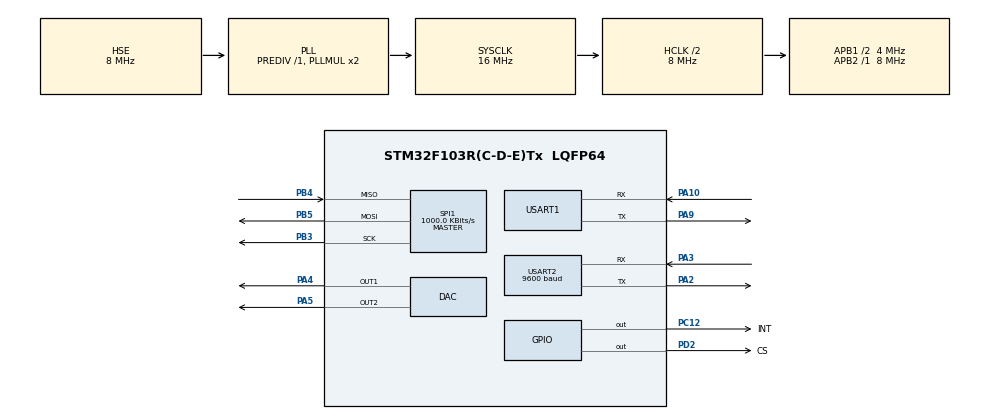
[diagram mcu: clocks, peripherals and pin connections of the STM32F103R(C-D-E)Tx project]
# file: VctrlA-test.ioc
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Dma.Request0=SPI1_RX
Dma.Request1=SPI1_TX
Dma.SPI1_RX.0.Direction=DMA_PERIPH_TO_MEMORY
Dma.SPI1_RX.0.Instance=DMA1_Channel2
Dma.SPI1_RX.0.MemDataAlignment=DMA_MDATAALIGN_BYTE
Dma.SPI1_RX.0.MemInc=DMA_MINC_ENABLE
Dma.SPI1_RX.0.Mode=DMA_NORMAL
Dma.SPI1_RX.0.PeriphDataAlignment=DMA_PDATAALIGN_BYTE
Dma.SPI1_RX.0.PeriphInc=DMA_PINC_DISABLE
Dma.SPI1_RX.0.Priority=DMA_PRIORITY_LOW
Dma.SPI1_TX.1.Direction=DMA_MEMORY_TO_PERIPH
Dma.SPI1_TX.1.Instance=DMA1_Channel3
Dma.SPI1_TX.1.MemDataAlignment=DMA_MDATAALIGN_BYTE
Dma.SPI1_TX.1.MemInc=DMA_MINC_ENABLE
Dma.SPI1_TX.1.Mode=DMA_NORMAL
Dma.SPI1_TX.1.PeriphDataAlignment=DMA_PDATAALIGN_BYTE
Dma.SPI1_TX.1.PeriphInc=DMA_PINC_DISABLE
Dma.SPI1_TX.1.Priority=DMA_PRIORITY_LOW
Mcu.Family=STM32F1
Mcu.Name=STM32F103R(C-D-E)Tx
Mcu.Package=LQFP64
NVIC.DMA1_Channel2_IRQn=true\:0\:0\:false\:false\:true\:false\:true\:true
NVIC.DMA1_Channel3_IRQn=true\:0\:0\:false\:false\:true\:false\:true\:true
NVIC.PriorityGroup=NVIC_PRIORITYGROUP_4
NVIC.SPI1_IRQn=true\:0\:0\:false\:false\:true\:true\:true\:true
NVIC.USART2_IRQn=true\:0\:0\:false\:false\:true\:true\:true\:true
PA10.Mode=Asynchronous
PA10.Signal=USART1_RX
PA2.Mode=Asynchronous
PA2.Signal=USART2_TX
PA3.Mode=Asynchronous
PA3.Signal=USART2_RX
PA4.Signal=COMP_DAC1_group
PA5.Signal=COMP_DAC2_group
PA9.Mode=Asynchronous
PA9.Signal=USART1_TX
PB3.Mode=Full_Duplex_Master
PB3.Signal=SPI1_SCK
PB4.Mode=Full_Duplex_Master
PB4.Signal=SPI1_MISO
PB5.Mode=Full_Duplex_Master
PB5.Signal=SPI1_MOSI
PC12.GPIO_Label=INT
PC12.Signal=GPIO_Output
PD0-OSC_IN.Mode=HSE-External-Oscillator
PD0-OSC_IN.Signal=RCC_OSC_IN
PD1-OSC_OUT.Mode=HSE-External-Oscillator
PD1-OSC_OUT.Signal=RCC_OSC_OUT
PD2.GPIO_Label=CS
PD2.Signal=GPIO_Output
ProjectManager.HeapSize=0x200
ProjectManager.StackSize=0x400
ProjectManager.TargetToolchain=MDK-ARM V5.32
RCC.AHBCLKDivider=RCC_SYSCLK_DIV2
RCC.AHBFreq_Value=8000000
RCC.APB1CLKDivider=RCC_HCLK_DIV2
RCC.APB1Freq_Value=4000000
RCC.APB1TimFreq_Value=8000000
RCC.APB2Freq_Value=8000000
RCC.APB2TimFreq_Value=8000000
RCC.HCLKFreq_Value=8000000
RCC.PLLSourceVirtual=RCC_PLLSOURCE_HSE
RCC.SYSCLKFreq_VALUE=16000000
RCC.SYSCLKSource=RCC_SYSCLKSOURCE_PLLCLK
RCC.USBFreq_Value=16000000
SH.COMP_DAC1_group.0=DAC_OUT1,DAC_OUT1
SH.COMP_DAC2_group.0=DAC_OUT2,DAC_OUT2
SPI1.BaudRatePrescaler=SPI_BAUDRATEPRESCALER_8
SPI1.CalculateBaudRate=1000.0 KBits/s
SPI1.Direction=SPI_DIRECTION_2LINES
SPI1.Mode=SPI_MODE_MASTER
SPI1.VirtualType=VM_MASTER
USART1.VirtualMode=VM_ASYNC
USART2.BaudRate=9600
USART2.VirtualMode=VM_ASYNC
VP_SYS_VS_ND.Mode=No_Debug
board=custom

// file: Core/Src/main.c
/* USER CODE BEGIN Header */
/**
  ******************************************************************************
  * @file           : main.c
  * @brief          : Main program body
  ******************************************************************************
  * @attention
  *
  * Copyright (c) 2025 STMicroelectronics.
  * All rights reserved.
  *
  * This software is licensed under terms that can be found in the LICENSE file
  * in the root directory of this software component.
  * If no LICENSE file comes with this software, it is provided AS-IS.
  *
  ******************************************************************************
  */
/* USER CODE END Header */
#include "main.h"
#include "dac.h"
#include "dma.h"
#include "spi.h"
#include "usart.h"
#include "gpio.h"

/* USER CODE BEGIN Includes */
#include "stdio.h"
#include "FILE_SYS.H"
#include "SPI_Init.h"
#include "ch376.h"

/* USER CODE END Includes */

/* USER CODE BEGIN PD */
int fputc(int ch, FILE* file)
{
    HAL_UART_Transmit(&huart1,(uint8_t*)&ch,1,0xffff);
    return ch;
}
/* USER CODE END PD */

void SystemClock_Config(void);

int main(void)
{

  /* MCU Configuration--------------------------------------------------------*/

  /* Reset of all peripherals, Initializes the Flash interface and the Systick. */
  HAL_Init();

  /* Configure the system clock */
  SystemClock_Config();

  /* Initialize all configured peripherals */
  MX_GPIO_Init();
  MX_DMA_Init();
  MX_DAC_Init();
  MX_USART1_UART_Init();
  MX_SPI1_Init();
  MX_USART2_UART_Init();
  /* USER CODE BEGIN 2 */
//	HAL_DAC_Start(&hdac, DAC_CHANNEL_1);
//	HAL_DAC_Start(&hdac, DAC_CHANNEL_2);
//	HAL_DAC_SetValue(&hdac,DAC_CHANNEL_1,DAC_ALIGN_12B_R,4096.00*1.283/3.30);
//	HAL_DAC_SetValue(&hdac,DAC_CHANNEL_2,DAC_ALIGN_12B_R,4096.00*3.00/3.30);

	printf( "Start\r\n" );

//	uint8_t rxdata,buf[10];
	if (CH376_TestConnection()) {
     printf("CH376 is connected and working!\r\n");
   }
	else
	{
     printf("CH376 connection failed!\r\n");
  }
	//选择u盘模式
	printf("正在选择u盘模式...");
	xWriteCH376Cmd(CMD_SET_USB_MODE);
	xWriteCH376Data(0x06);
		if(xReadCH376Data()==0x51)if(xReadCH376Data()==0x15) printf("设置成功\r\n");
	//判断是否连接
	printf("正在检查u盘连接...");
	CH376DiskConnect();
	if(xReadCH376Data()==USB_INT_SUCCESS) printf("连接成功\r\n");
	//初始化磁盘
	printf("正在初始化磁盘...");
	if(CH376DiskMount()==USB_INT_SUCCESS) printf("已就绪\r\n");
	//打开目录
	printf("正在打开目录...");
	if(CH376FileCreate((PUINT8)"/DATA.CSV")==USB_INT_SUCCESS) printf("打开成功\r\n");
	else printf("开启失败\r\n");
	//获取当前文件大小
	uint32_t size=CH376GetFileSize();
	printf("size=%d\r\n",size);
	//读取数据
//	xWriteCH376Cmd(CMD2H_BYTE_READ);
//	printf("res=%c",xReadCH376Data());
//	if(xReadCH376Data()==0x1D) printf("正在读取数据...");
//	xWriteCH376Cmd(CMD01_RD_USB_DATA0);
//	printf("读取数据：%x",xReadCH376Data());

	//写入数据1
	char str[50];
	float num=123.456;
	sprintf(str,"%.1f",num);
	if(file_writeData("abcd,")==USB_INT_SUCCESS) printf("写入成功\r\n");
	else printf("写入失败\r\n");

	//写入数据2
	num=234.6;
	sprintf(str,"%.1f\n",num);
	if(file_writeData(str)==USB_INT_SUCCESS) printf("写入成功\r\n");
	else printf("写入失败\r\n");
//
	//写入数据3
	num=456.6;
	sprintf(str,"%.1f",num);
	if(file_writeData(str)==USB_INT_SUCCESS) printf("写入成功\r\n");
	else printf("写入失败\r\n");

	size=CH376GetFileSize();
	printf("filesize=%d\r\n",size);
	//关闭文件
	printf("正在关闭文件\r\n");

	if(CH376FileClose(1)==USB_INT_SUCCESS) printf("关闭成功\r\n");

  /* USER CODE END 2 */

  /* Infinite loop */
  while (1)
  {

  }
}

void SystemClock_Config(void)
{
  RCC_OscInitTypeDef RCC_OscInitStruct = {0};
  RCC_ClkInitTypeDef RCC_ClkInitStruct = {0};

  /** Initializes the RCC Oscillators according to the specified parameters
  * in the RCC_OscInitTypeDef structure.
  */
  RCC_OscInitStruct.OscillatorType = RCC_OSCILLATORTYPE_HSE;
  RCC_OscInitStruct.HSEState = RCC_HSE_ON;
  RCC_OscInitStruct.HSEPredivValue = RCC_HSE_PREDIV_DIV1;
  RCC_OscInitStruct.HSIState = RCC_HSI_ON;
  RCC_OscInitStruct.PLL.PLLState = RCC_PLL_ON;
  RCC_OscInitStruct.PLL.PLLSource = RCC_PLLSOURCE_HSE;
  RCC_OscInitStruct.PLL.PLLMUL = RCC_PLL_MUL2;
  if (HAL_RCC_OscConfig(&RCC_OscInitStruct) != HAL_OK)
  {
    Error_Handler();
  }

  /** Initializes the CPU, AHB and APB buses clocks
  */
  RCC_ClkInitStruct.ClockType = RCC_CLOCKTYPE_HCLK|RCC_CLOCKTYPE_SYSCLK
                              |RCC_CLOCKTYPE_PCLK1|RCC_CLOCKTYPE_PCLK2;
  RCC_ClkInitStruct.SYSCLKSource = RCC_SYSCLKSOURCE_PLLCLK;
  RCC_ClkInitStruct.AHBCLKDivider = RCC_SYSCLK_DIV2;
  RCC_ClkInitStruct.APB1CLKDivider = RCC_HCLK_DIV2;
  RCC_ClkInitStruct.APB2CLKDivider = RCC_HCLK_DIV1;

  if (HAL_RCC_ClockConfig(&RCC_ClkInitStruct, FLASH_LATENCY_0) != HAL_OK)
  {
    Error_Handler();
  }
}

void Error_Handler(void)
{
  __disable_irq();
  while (1)
  {
  }
}
